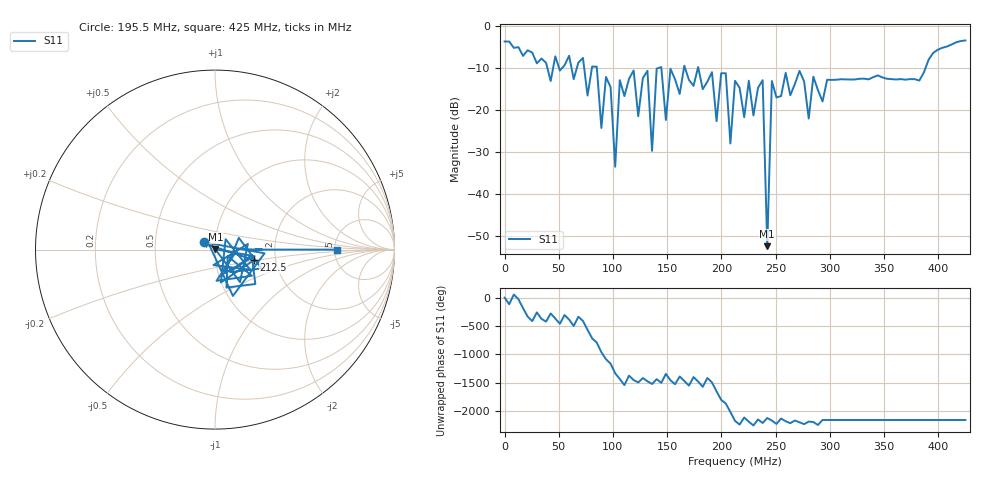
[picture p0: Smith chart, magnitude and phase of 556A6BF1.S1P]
!File created by NanoVNA
# Hz S RI R 50
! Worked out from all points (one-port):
!   101 points, 50 kHz to 425 MHz, reference 50 ohm
!   lowest |S11| = -52.4 dB at 242.3 MHz (marker M1), VSWR 1.00, Z = 50.2 + j0.14 ohm
!   |S11| at or under -10 dB: 85.16 MHz to 140.8 MHz (55.66 MHz wide, 49.3 % of centre); 144.6 MHz to 165.4 MHz (20.74 MHz wide, 13.4 % of centre); 178.8 MHz to 388.1 MHz (209.3 MHz wide, 73.8 % of centre) (the widest 3 of 8)
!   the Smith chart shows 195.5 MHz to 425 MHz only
!   S11 on the Smith chart (normalised r, x): 195.5 MHz: 0.88, +0.07; 212.5 MHz: 1.54, -0.19; 425 MHz: 5.27, +0.00
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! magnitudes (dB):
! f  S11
! 50 kHz  -3.6
! 55.29 MHz  -9.3
! 85.04 MHz  -9.6
! 89.29 MHz  -24.2
! 93.54 MHz  -12.1
! 102 MHz  -33.4
! 106.3 MHz  -12.8
! 119 MHz  -10.5
! 123.3 MHz  -21.4
! 131.8 MHz  -10.6
! 136 MHz  -29.7
! 140.3 MHz  -10.0
! 148.8 MHz  -22.3
! 153 MHz  -10.1
! 161.5 MHz  -16.1
! 191.3 MHz  -10.9
! 195.5 MHz  -22.6
! 204 MHz  -11.2
! 208.3 MHz  -27.9
! 212.5 MHz  -13.0
! 221 MHz  -21.6
! 238 MHz  -12.8
! 242.3 MHz  -52.4
! 246.5 MHz  -13.0
! 267.8 MHz  -13.7
! 318.8 MHz  -12.6
! 374 MHz  -12.6
! 425 MHz  -3.3
